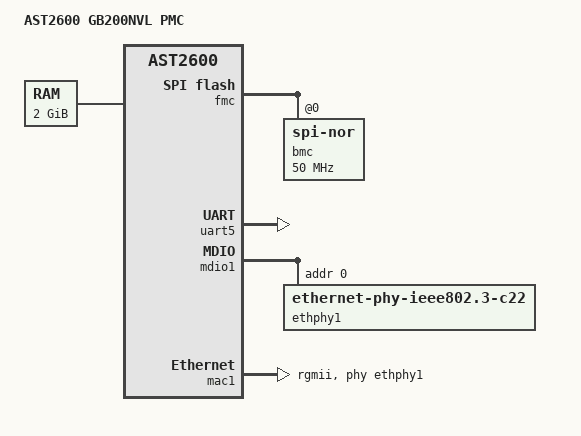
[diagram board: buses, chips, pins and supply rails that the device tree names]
// SPDX-License-Identifier: GPL-2.0+
/dts-v1/;

#include "nvidia-gb200nvl-pmc-core.dtsi"
#include <dt-bindings/leds/common.h>

/ {
    model = "AST2600 GB200NVL PMC";
    compatible = "aspeed,ast2600";

	aliases {
		serial4 = &uart5;
	};

	chosen {
		stdout-path = &uart5;
		bootargs = "console=tty0 console=ttyS4,115200n8 earlyprintk vmalloc=400M";
	};

	memory@80000000 {
		reg = <0x80000000 0x80000000>;
	};

	reserved-memory {
		#address-cells = <1>;
		#size-cells = <1>;
		ranges;
		ramoops@a0000000 {
			compatible = "ramoops";
			reg = <0xa0000000 0x100000>; /* 1MB */
			record-size = <0x10000>; /* 64KB */
			max-reason = <2>; /* KMSG_DUMP_OOPS */
		};
	};

};

// Enabled Primary flash on FMC for bring up activity
&fmc {
    status = "okay";
    flash@0 {
        m25p,fast-read;
        spi-rx-bus-width = <4>;
        spi-tx-bus-width = <4>;
        status = "okay";
        compatible = "jedec,spi-nor";
        label = "bmc";
        spi-max-frequency = <50000000>;
        size = <65536>;
#include "aspeed/aspeed-bmc-nvidia-gh-flash-layout-64.dtsi"
    };
};

&uart5 {
    // BMC Debug Console
    status = "okay";
};

// MAC1 (per schematics, 1-based MAC1-MAC4) of AST2600 connected to external PHY
// This is "mac0" in zero-based DTS
&mdio1 {
    status = "okay";
    ethphy1: ethernet-phy@1 {
        compatible = "ethernet-phy-ieee802.3-c22";
        reg = <0>;
    };

};

&mac1 {
    status = "okay";
    pinctrl-names = "default";
    phy-mode = "rgmii";
    phy-handle = <&ethphy1>;
    pinctrl-0 = <&pinctrl_rgmii2_default>;
};


